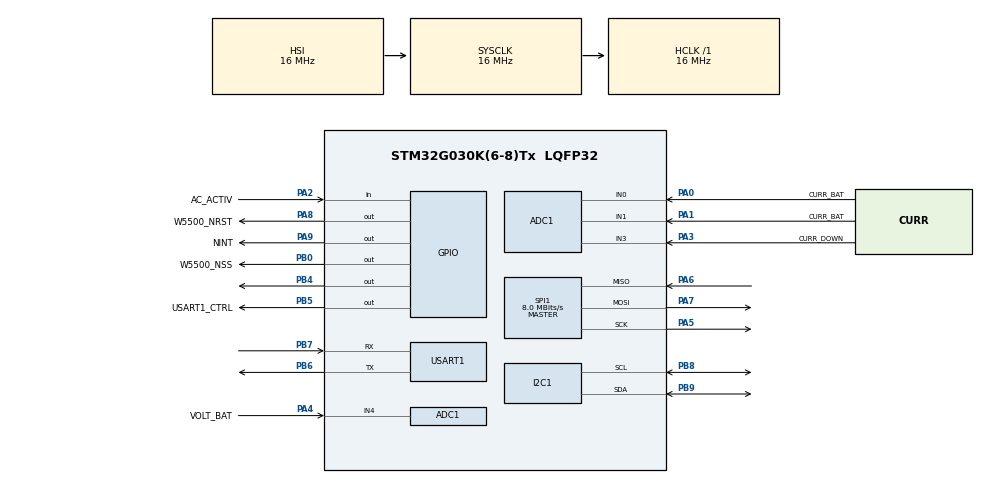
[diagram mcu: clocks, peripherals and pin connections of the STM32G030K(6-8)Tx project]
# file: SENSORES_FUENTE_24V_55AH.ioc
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ADC1.Channel-0\#ChannelRegularConversion=ADC_CHANNEL_0
ADC1.NbrOfConversionFlag=1
ADC1.Rank-0\#ChannelRegularConversion=1
ADC1.SamplingTime-0\#ChannelRegularConversion=ADC_SAMPLINGTIME_COMMON_1
ADC1.SelectedChannel=ADC_CHANNEL_0|ADC_CHANNEL_1|ADC_CHANNEL_3|ADC_CHANNEL_4
ADC1.master=1
Mcu.Family=STM32G0
Mcu.Name=STM32G030K(6-8)Tx
Mcu.Package=LQFP32
PA0.GPIO_Label=CURR_BAT
PA0.Mode=IN0
PA0.Signal=ADC1_IN0
PA1.GPIO_Label=CURR_BAT
PA1.Mode=IN1
PA1.Signal=ADC1_IN1
PA13.Mode=Serial_Wire
PA13.Signal=SYS_SWDIO
PA14-BOOT0.Mode=Serial_Wire
PA14-BOOT0.Signal=SYS_SWCLK
PA2.GPIO_Label=AC_ACTIV
PA2.Signal=GPIO_Input
PA3.GPIO_Label=CURR_DOWN
PA3.Mode=IN3
PA3.Signal=ADC1_IN3
PA4.GPIO_Label=VOLT_BAT
PA4.Mode=IN4
PA4.Signal=ADC1_IN4
PA5.Mode=Full_Duplex_Master
PA5.Signal=SPI1_SCK
PA6.Mode=Full_Duplex_Master
PA6.Signal=SPI1_MISO
PA7.Mode=Full_Duplex_Master
PA7.Signal=SPI1_MOSI
PA8.GPIO_Label=W5500_NRST
PA8.Signal=GPIO_Output
PA9.GPIO_Label=NINT
PA9.Signal=GPIO_Output
PB0.GPIO_Label=W5500_NSS
PB0.Signal=GPIO_Output
PB4.Signal=GPIO_Output
PB5.GPIO_Label=USART1_CTRL
PB5.Signal=GPIO_Output
PB6.Mode=Asynchronous
PB6.Signal=USART1_TX
PB7.Mode=Asynchronous
PB7.Signal=USART1_RX
PB8.Mode=I2C
PB8.Signal=I2C1_SCL
PB9.Mode=I2C
PB9.Signal=I2C1_SDA
ProjectManager.HeapSize=0x200
ProjectManager.StackSize=0x400
ProjectManager.TargetToolchain=STM32CubeIDE
RCC.AHBFreq_Value=16000000
RCC.CortexFreq_Value=16000000
RCC.EXTERNAL_CLOCK_VALUE=12288000
RCC.HCLKFreq_Value=16000000
RCC.HSE_VALUE=8000000
RCC.HSI_VALUE=16000000
RCC.LSE_VALUE=32768
RCC.SYSCLKFreq_VALUE=16000000
RCC.VCOOutputFreq_Value=128000000
SPI1.BaudRatePrescaler=SPI_BAUDRATEPRESCALER_2
SPI1.CalculateBaudRate=8.0 MBits/s
SPI1.Direction=SPI_DIRECTION_2LINES
SPI1.Mode=SPI_MODE_MASTER
SPI1.VirtualNSS=VM_NSSHARD
SPI1.VirtualType=VM_MASTER
USART1.VirtualMode-Asynchronous=VM_ASYNC
board=custom

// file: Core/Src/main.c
/* USER CODE BEGIN Header */
/**
 ******************************************************************************
 * @file           : main.c
 * @brief          : Main program body
 ******************************************************************************
 * @attention
 *
 * Copyright (c) 2024 STMicroelectronics.
 * All rights reserved.
 *
 * This software is licensed under terms that can be found in the LICENSE file
 * in the root directory of this software component.
 * If no LICENSE file comes with this software, it is provided AS-IS.
 *
 ******************************************************************************
 */
/* USER CODE END Header */
#include "main.h"

/* USER CODE BEGIN Includes */
#include "wizchip_conf.h"
#include "socket.h"
#include "w5500_spi.h"
#include "ethernet.h"
#include <string.h>
#include <stdlib.h>
/* USER CODE END Includes */

/* USER CODE BEGIN PTD */

W5500_HW_t w5500_hw;

/* USER CODE END PTD */

ADC_HandleTypeDef hadc1;

I2C_HandleTypeDef hi2c1;

SPI_HandleTypeDef hspi1;

UART_HandleTypeDef huart1;

/* USER CODE BEGIN PV */
uint32_t curr_bat = 0;
uint32_t curr_up = 0;
uint32_t curr_down = 0;
uint32_t volt_bat = 0;
uint8_t Ac_active = 0;

ADC_HandleTypeDef hadc1;
DMA_HandleTypeDef hdma_adc1;

/* USER CODE BEGIN PV */
uint16_t adc_result[2];
uint8_t dato[5];
uint8_t dato2[5];
uint8_t re[50];
uint8_t re2[50];
GPIO_PinState sw;    // PB9
uint8_t eth = 72; // H
uint16_t offset_address;
uint8_t BSB;
uint8_t RWB;
uint8_t OM;
uint8_t DATA[240];
uint8_t control_phase;
uint8_t buffer[243] = { 0 };
uint8_t buffer_t[3];
uint8_t *p;
uint8_t buffer2[3000];

uint8_t sn[4];
uint8_t buffer3[3000];
uint8_t *rt;
GPIO_PinState NSHD;	 // PC0
GPIO_PinState S485_N232; // PC15
GPIO_PinState DE485_F232; // PC13
GPIO_PinState NRE485; // PA12
GPIO_PinState NTE485; // PA1
GPIO_PinState LB; // PA5

uint8_t c = 0;
uint16_t RxXferdif = 0;
uint8_t set1 = 0;
uint8_t set2 = 0;
uint8_t time1, time2, timeNow, timeDiff;

uint8_t gar[] = { 192, 168, 60, 1 };
uint8_t sub_r[] = { 255, 255, 255, 0 };
uint8_t shar[] = { 0x00, 0x08, 0xDC, 0x01, 0x02, 0x03 };
uint8_t sipr[] = { 192, 168, 60, 104 };
uint8_t mode = 0x012;
int8_t socket_mode = 0x01; //TCP
uint8_t S_MR = 0x01;
uint8_t S_CR_open = 0x01;
uint8_t S_CR_discon = 0x08;
uint8_t S_CR_con = 0x04;
uint8_t S_CR_recv = 0x40;
uint8_t S_SR = 0x13;
uint8_t S_PORT[2] = { 0x0B, 0xB8 }; //PUERTO 3000
uint8_t S_DPORT[2] = { 0x03, 0xE8 }; // PUERTO 1000
uint8_t S_MMS[2] = { 0x05, 0xB4 };
uint8_t S_RXBUF_SIZE = 0x01; // 1KB
uint8_t S_TXBUF_SIZE = 0x01; // 1KB
uint8_t S_CR_listen = 0x02;
uint8_t _PHYCFGR_RST = 0x1D;
uint8_t _PHYCFGR_NRST = 0X9D;
uint8_t read_reg = 1;
uint8_t S_DHAR[6] = { 0x08, 0xDC, 0x00, 0x01, 0x02, 0x0A };
uint8_t S_TTL = 0x40;

uint8_t s_MR; //0
uint8_t s_CR; //1
uint8_t s_IR; //2
uint8_t s_SR; //3
uint8_t s_PORT[2]; //4
uint8_t s_DHAR[6]; //6
uint8_t s_DIPR[4]; //C
uint8_t s_DPORT[2]; //10
uint8_t s_MSS[2]; //12
uint8_t s_TOS; //15
uint8_t s_TTL; //16
uint8_t s_RXBUF_SIZE; //1E
uint8_t s_TXBUF_SIZE; //1F
uint8_t s_TX_FS[2]; //20
uint8_t s_TX_RD[2]; //22
uint8_t s_TX_WR[2]; //24

uint8_t s_RX_WR[2]; //2A
uint8_t s_IMR; //2C
uint8_t s_FRAG[2]; //2D
uint8_t s_KPALVTR; //2F

uint8_t read_IR = 0;

uint8_t socket_status = 0; // 1 CON, 2 DISCN, 3 RECV, 4 TIMEOUT, 5 SENDOK
uint8_t tx_data[4] = { 84, 69, 83, 84 }; // TEST
uint8_t send_socket0 = 0x20;
uint16_t point = 0;
uint16_t q = 0;

uint8_t s_send_ok = 0; //0x10
uint8_t s_timeout = 0; //0x08
uint8_t s_recv = 0; //0x04
uint8_t s_discon = 0; //0x02
uint8_t s_con = 0; //0x01
uint16_t len_rx = 0;
uint16_t offset_read = 0;
uint8_t data_transmition[3000];
uint8_t eth_bufRX[1024];
uint8_t eth_lenRX;
/* USER CODE END PV */

void SystemClock_Config(void);
static void MX_GPIO_Init(void);
static void MX_ADC1_Init(void);
static void MX_I2C1_Init(void);
static void MX_SPI1_Init(void);
static void MX_USART1_UART_Init(void);
/* USER CODE BEGIN PFP */

uint32_t Read_ADC_Channel(uint32_t channel) {
	ADC_ChannelConfTypeDef sConfig = { 0 };
	sConfig.Channel = channel;
	sConfig.Rank = ADC_REGULAR_RANK_1;
	sConfig.SamplingTime = ADC_SAMPLINGTIME_COMMON_1;

	if (HAL_ADC_ConfigChannel(&hadc1, &sConfig) != HAL_OK) {
		Error_Handler();
	}

	HAL_ADC_Start(&hadc1);
	HAL_ADC_PollForConversion(&hadc1, HAL_MAX_DELAY);
	uint32_t value = HAL_ADC_GetValue(&hadc1);
	HAL_ADC_Stop(&hadc1);

	return value;
}
/* USER CODE END PFP */

int main(void)
{

  /* MCU Configuration--------------------------------------------------------*/

  /* Reset of all peripherals, Initializes the Flash interface and the Systick. */
  HAL_Init();

  /* Configure the system clock */
  SystemClock_Config();

  /* Initialize all configured peripherals */
  MX_GPIO_Init();
  MX_ADC1_Init();
  MX_I2C1_Init();
  MX_SPI1_Init();
  MX_USART1_UART_Init();
  /* USER CODE BEGIN 2 */
	uint8_t ip[]={0,0,0,0};
	init_w5500_hw(&w5500_hw, &hspi1, W5500_NSS_GPIO_Port, W5500_NSS_Pin, W5500_NRST_GPIO_Port, W5500_NRST_Pin);
	eth_read_reg(0,0x0F,ip,4);
	common_register_block(buffer, 0x0F, sipr, sizeof(sipr));
	eth_read_reg(0,0x0F,ip,4);

	//PHYSCIS configuration of the chip//
	eth_write_reg(COMMON_REG_OFFSET, PHYCFGR_RST_OFFSET,
			(uint8_t*) &_PHYCFGR_RST, sizeof(_PHYCFGR_RST));
	HAL_Delay(500);
	eth_write_reg(COMMON_REG_OFFSET, PHYCFGR_RST_OFFSET,
			(uint8_t*) &_PHYCFGR_NRST, sizeof(_PHYCFGR_NRST));
	HAL_Delay(200);

	/*Configuration of common registers*/
	//common_reg_config(buffer, mode, gar, sub_r, shar, sipr);

	common_register_block(buffer, 0x00, (uint8_t*) &mode, sizeof(mode));
	common_register_block(buffer, 0x01, gar, sizeof(gar));
	common_register_block(buffer, 0x05, sub_r, sizeof(sub_r));
	common_register_block(buffer, 0x09, shar, sizeof(shar));
	common_register_block(buffer, 0x0F, sipr, sizeof(sipr));

	socket_reg_config(buffer, S_MR, S_PORT, S_DHAR, S_DPORT, S_MMS, S_TTL,
			S_RXBUF_SIZE, S_TXBUF_SIZE, S_CR_open, S_CR_listen);

	memset(ip,0,4);
	eth_read_reg(0,0x0F,ip,4);

  /* USER CODE END 2 */

  /* Infinite loop */
  /* USER CODE BEGIN WHILE */
	while (1) {
		/*DHCP validation */
	    if (DHCP_run() == DHCP_RET_UPDATE) {
	       //Update network settings after getting IP
	       wizchip_getnetinfo(&net_info);
	       printf("IP Address assigned by DHCP: %d.%d.%d.%d\n", net_info.ip[0], net_info.ip[1], net_info.ip[2], net_info.ip[3]);
	    }
		/* Read analog values */
		curr_bat = Read_ADC_Channel(ADC_CHANNEL_0);  // PA0
		curr_up = Read_ADC_Channel(ADC_CHANNEL_1);   // PA1
		curr_down = Read_ADC_Channel(ADC_CHANNEL_3); // PA3
		volt_bat = Read_ADC_Channel(ADC_CHANNEL_4);  // PA4

		/* Read digital value */
		Ac_active = HAL_GPIO_ReadPin(GPIOA, GPIO_PIN_2); // PA2

		/* Add your code to process the adcValue */
		HAL_GPIO_TogglePin(GPIOA, GPIO_PIN_15);
		HAL_Delay(100);

		// Send data via Modbus TCP/IP
		send_modbus_tcp_ip(0, 1, 1, 0, curr_bat, curr_up, curr_down, volt_bat, Ac_active);

		// LEER REGISTRO IR
		eth_read_reg(socket_0_register, S_IR_OFFSET, &s_IR, sizeof(s_IR));

		if (s_IR & Sn_IR_MASK) {
			uint8_t ir_reset;
			if (s_IR & Sn_CONNECT) {  // SOCK_ESTABLISHED
				socket_cmd_cfg(socket_0_register, S_CR_CONNECT);
				ir_reset = Sn_CONNECT;
			}
			if (s_IR & Sn_DISCONNECT) { //FIN/ACK
				socket_cmd_cfg(socket_0_register, S_CR_DISCONECT);
				socket_cmd_cfg(socket_0_register, S_CR_OPEN);
				socket_cmd_cfg(socket_0_register, S_CR_LISTEN);
				ir_reset = Sn_DISCONNECT;
			}

			if ((s_IR & Sn_RECEIVE)) {
				/*readDataFromEthernet*/
				eth_lenRX = read_socket_n_rx_buffer(socket_0_register,
						eth_bufRX);
				socket_cmd_cfg(socket_0_register, S_CR_RECV);
				ir_reset = Sn_RECEIVE;
			}
			eth_write_reg(socket_0_register, S_IR_OFFSET, (uint8_t*) &ir_reset,
					sizeof(ir_reset));

		}

	   // Reading the status of the socket
	   eth_read_reg(socket_0_register, S_SR_OFFSET, &s_SR, sizeof(s_SR));

       /* USER CODE END WHILE */

	}
}

void SystemClock_Config(void)
{
  RCC_OscInitTypeDef RCC_OscInitStruct = {0};
  RCC_ClkInitTypeDef RCC_ClkInitStruct = {0};

  /** Configure the main internal regulator output voltage
  */
  HAL_PWREx_ControlVoltageScaling(PWR_REGULATOR_VOLTAGE_SCALE1);

  /** Initializes the RCC Oscillators according to the specified parameters
  * in the RCC_OscInitTypeDef structure.
  */
  RCC_OscInitStruct.OscillatorType = RCC_OSCILLATORTYPE_HSI;
  RCC_OscInitStruct.HSIState = RCC_HSI_ON;
  RCC_OscInitStruct.HSIDiv = RCC_HSI_DIV1;
  RCC_OscInitStruct.HSICalibrationValue = RCC_HSICALIBRATION_DEFAULT;
  RCC_OscInitStruct.PLL.PLLState = RCC_PLL_NONE;
  if (HAL_RCC_OscConfig(&RCC_OscInitStruct) != HAL_OK)
  {
    Error_Handler();
  }

  /** Initializes the CPU, AHB and APB buses clocks
  */
  RCC_ClkInitStruct.ClockType = RCC_CLOCKTYPE_HCLK|RCC_CLOCKTYPE_SYSCLK
                              |RCC_CLOCKTYPE_PCLK1;
  RCC_ClkInitStruct.SYSCLKSource = RCC_SYSCLKSOURCE_HSI;
  RCC_ClkInitStruct.AHBCLKDivider = RCC_SYSCLK_DIV1;
  RCC_ClkInitStruct.APB1CLKDivider = RCC_HCLK_DIV1;

  if (HAL_RCC_ClockConfig(&RCC_ClkInitStruct, FLASH_LATENCY_0) != HAL_OK)
  {
    Error_Handler();
  }
}

static void MX_ADC1_Init(void)
{

  ADC_ChannelConfTypeDef sConfig = {0};

  /** Configure the global features of the ADC (Clock, Resolution, Data Alignment and number of conversion)
  */
  hadc1.Instance = ADC1;
  hadc1.Init.ClockPrescaler = ADC_CLOCK_SYNC_PCLK_DIV2;
  hadc1.Init.Resolution = ADC_RESOLUTION_12B;
  hadc1.Init.DataAlign = ADC_DATAALIGN_RIGHT;
  hadc1.Init.ScanConvMode = ADC_SCAN_DISABLE;
  hadc1.Init.EOCSelection = ADC_EOC_SINGLE_CONV;
  hadc1.Init.LowPowerAutoWait = DISABLE;
  hadc1.Init.LowPowerAutoPowerOff = DISABLE;
  hadc1.Init.ContinuousConvMode = DISABLE;
  hadc1.Init.NbrOfConversion = 1;
  hadc1.Init.DiscontinuousConvMode = DISABLE;
  hadc1.Init.ExternalTrigConv = ADC_SOFTWARE_START;
  hadc1.Init.ExternalTrigConvEdge = ADC_EXTERNALTRIGCONVEDGE_NONE;
  hadc1.Init.DMAContinuousRequests = DISABLE;
  hadc1.Init.Overrun = ADC_OVR_DATA_PRESERVED;
  hadc1.Init.SamplingTimeCommon1 = ADC_SAMPLETIME_1CYCLE_5;
  hadc1.Init.SamplingTimeCommon2 = ADC_SAMPLETIME_1CYCLE_5;
  hadc1.Init.OversamplingMode = DISABLE;
  hadc1.Init.TriggerFrequencyMode = ADC_TRIGGER_FREQ_HIGH;
  if (HAL_ADC_Init(&hadc1) != HAL_OK)
  {
    Error_Handler();
  }

  /** Configure Regular Channel
  */
  sConfig.Channel = ADC_CHANNEL_0;
  sConfig.Rank = ADC_REGULAR_RANK_1;
  sConfig.SamplingTime = ADC_SAMPLINGTIME_COMMON_1;
  if (HAL_ADC_ConfigChannel(&hadc1, &sConfig) != HAL_OK)
  {
    Error_Handler();
  }

}

static void MX_I2C1_Init(void)
{

  hi2c1.Instance = I2C1;
  hi2c1.Init.Timing = 0x00303D5B;
  hi2c1.Init.OwnAddress1 = 0;
  hi2c1.Init.AddressingMode = I2C_ADDRESSINGMODE_7BIT;
  hi2c1.Init.DualAddressMode = I2C_DUALADDRESS_DISABLE;
  hi2c1.Init.OwnAddress2 = 0;
  hi2c1.Init.OwnAddress2Masks = I2C_OA2_NOMASK;
  hi2c1.Init.GeneralCallMode = I2C_GENERALCALL_DISABLE;
  hi2c1.Init.NoStretchMode = I2C_NOSTRETCH_DISABLE;
  if (HAL_I2C_Init(&hi2c1) != HAL_OK)
  {
    Error_Handler();
  }

  /** Configure Analogue filter
  */
  if (HAL_I2CEx_ConfigAnalogFilter(&hi2c1, I2C_ANALOGFILTER_ENABLE) != HAL_OK)
  {
    Error_Handler();
  }

  /** Configure Digital filter
  */
  if (HAL_I2CEx_ConfigDigitalFilter(&hi2c1, 0) != HAL_OK)
  {
    Error_Handler();
  }

}

static void MX_SPI1_Init(void)
{

  /* SPI1 parameter configuration*/
  hspi1.Instance = SPI1;
  hspi1.Init.Mode = SPI_MODE_MASTER;
  hspi1.Init.Direction = SPI_DIRECTION_2LINES;
  hspi1.Init.DataSize = SPI_DATASIZE_8BIT;
  hspi1.Init.CLKPolarity = SPI_POLARITY_LOW;
  hspi1.Init.CLKPhase = SPI_PHASE_1EDGE;
  hspi1.Init.NSS = SPI_NSS_SOFT;
  hspi1.Init.BaudRatePrescaler = SPI_BAUDRATEPRESCALER_2;
  hspi1.Init.FirstBit = SPI_FIRSTBIT_MSB;
  hspi1.Init.TIMode = SPI_TIMODE_DISABLE;
  hspi1.Init.CRCCalculation = SPI_CRCCALCULATION_DISABLE;
  hspi1.Init.CRCPolynomial = 7;
  hspi1.Init.CRCLength = SPI_CRC_LENGTH_DATASIZE;
  hspi1.Init.NSSPMode = SPI_NSS_PULSE_ENABLE;
  if (HAL_SPI_Init(&hspi1) != HAL_OK)
  {
    Error_Handler();
  }

}

static void MX_USART1_UART_Init(void)
{

  huart1.Instance = USART1;
  huart1.Init.BaudRate = 115200;
  huart1.Init.WordLength = UART_WORDLENGTH_8B;
  huart1.Init.StopBits = UART_STOPBITS_1;
  huart1.Init.Parity = UART_PARITY_NONE;
  huart1.Init.Mode = UART_MODE_TX_RX;
  huart1.Init.HwFlowCtl = UART_HWCONTROL_NONE;
  huart1.Init.OverSampling = UART_OVERSAMPLING_16;
  huart1.Init.OneBitSampling = UART_ONE_BIT_SAMPLE_DISABLE;
  huart1.Init.ClockPrescaler = UART_PRESCALER_DIV1;
  huart1.AdvancedInit.AdvFeatureInit = UART_ADVFEATURE_NO_INIT;
  if (HAL_UART_Init(&huart1) != HAL_OK)
  {
    Error_Handler();
  }
  if (HAL_UARTEx_SetTxFifoThreshold(&huart1, UART_TXFIFO_THRESHOLD_1_8) != HAL_OK)
  {
    Error_Handler();
  }
  if (HAL_UARTEx_SetRxFifoThreshold(&huart1, UART_RXFIFO_THRESHOLD_1_8) != HAL_OK)
  {
    Error_Handler();
  }
  if (HAL_UARTEx_DisableFifoMode(&huart1) != HAL_OK)
  {
    Error_Handler();
  }

}

static void MX_GPIO_Init(void)
{
  GPIO_InitTypeDef GPIO_InitStruct = {0};

  /* GPIO Ports Clock Enable */
  __HAL_RCC_GPIOB_CLK_ENABLE();
  __HAL_RCC_GPIOA_CLK_ENABLE();

  /*Configure GPIO pin Output Level */
  HAL_GPIO_WritePin(GPIOB, W5500_NSS_Pin|GPIO_PIN_4|USART1_CTRL_Pin, GPIO_PIN_RESET);

  /*Configure GPIO pin Output Level */
  HAL_GPIO_WritePin(GPIOA, W5500_NRST_Pin|NINT_Pin, GPIO_PIN_RESET);

  /*Configure GPIO pin : AC_ACTIV_Pin */
  GPIO_InitStruct.Pin = AC_ACTIV_Pin;
  GPIO_InitStruct.Mode = GPIO_MODE_INPUT;
  GPIO_InitStruct.Pull = GPIO_NOPULL;
  HAL_GPIO_Init(AC_ACTIV_GPIO_Port, &GPIO_InitStruct);

  /*Configure GPIO pins : W5500_NSS_Pin PB4 USART1_CTRL_Pin */
  GPIO_InitStruct.Pin = W5500_NSS_Pin|GPIO_PIN_4|USART1_CTRL_Pin;
  GPIO_InitStruct.Mode = GPIO_MODE_OUTPUT_PP;
  GPIO_InitStruct.Pull = GPIO_NOPULL;
  GPIO_InitStruct.Speed = GPIO_SPEED_FREQ_LOW;
  HAL_GPIO_Init(GPIOB, &GPIO_InitStruct);

  /*Configure GPIO pins : W5500_NRST_Pin NINT_Pin */
  GPIO_InitStruct.Pin = W5500_NRST_Pin|NINT_Pin;
  GPIO_InitStruct.Mode = GPIO_MODE_OUTPUT_PP;
  GPIO_InitStruct.Pull = GPIO_NOPULL;
  GPIO_InitStruct.Speed = GPIO_SPEED_FREQ_LOW;
  HAL_GPIO_Init(GPIOA, &GPIO_InitStruct);

}

void Error_Handler(void)
{
	__disable_irq();
	while (1) {
	}
}
